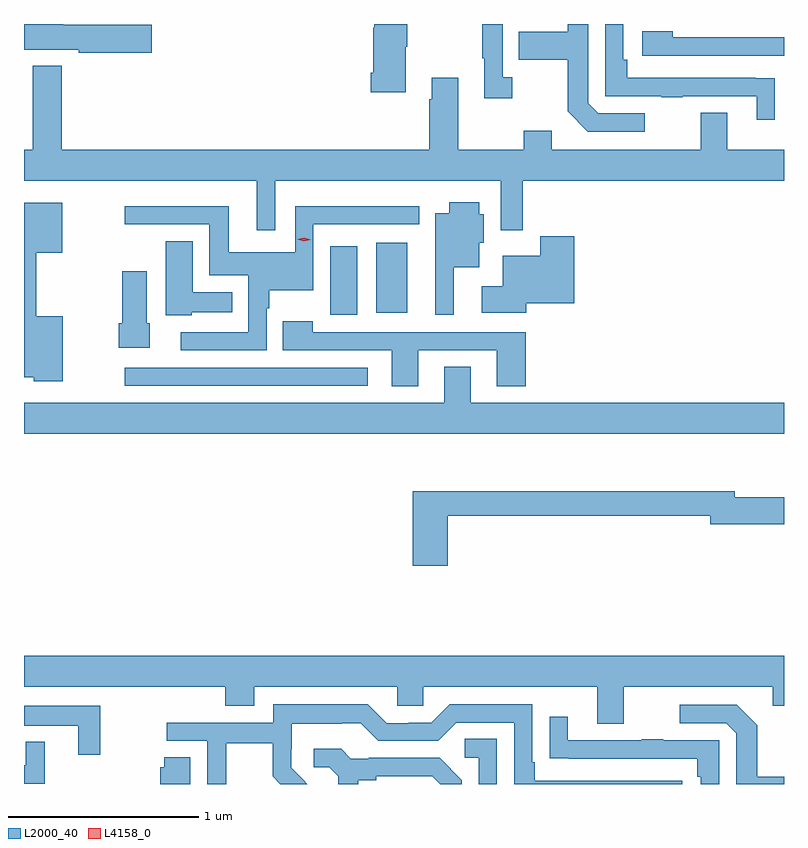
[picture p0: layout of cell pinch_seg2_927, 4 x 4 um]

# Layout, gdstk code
import gdstk
lib = gdstk.Library(unit=1e-6, precision=1e-09)
def R(c, l, rs):  # rectangles x0, y0, x1, y1
    for r in rs: c.add(gdstk.rectangle(r[:2], r[2:], *l))
def P(c, l, *ps):  # polygons
    for p in ps: c.add(gdstk.Polygon(p, *l))
L2000_40 = (2000, 40)
L4158_0 = (4158, 0)

pinch_seg2_927 = lib.new_cell('pinch_seg2_927')
R(pinch_seg2_927, L2000_40, [(350.517,641.229,351.796,641.325), (351.599,641.604,351.742,641.962), (351.842,641.612,352.003,641.983)])
P(pinch_seg2_927, L2000_40, [(351.997,643.013),(352.005,643.013),(352.005,643.133),(351.83,643.133),(351.83,643.113),(351.824,643.113),(351.824,642.877),(351.812,642.877),(351.812,642.773),(351.997,642.773)],
  [(353.254,642.663),(353.01,642.663),(352.956,642.717),(352.956,643.133),(352.848,643.133),(352.848,643.093),(352.591,643.093),(352.591,642.946),(352.848,642.946),(352.848,642.673),(352.953,642.567),(353.254,642.567)],
  [(352.558,642.854),(352.506,642.854),(352.506,643.133),(352.398,643.133),(352.398,642.953),(352.409,642.953),(352.409,642.741),(352.558,642.741)],
  [(350.659,643.13),(350.194,643.13),(350.194,643.133),(349.987,643.133),(349.987,642.998),(350.274,642.998),(350.274,642.983),(350.659,642.983)],
  [(353.939,642.848),(353.837,642.848),(353.837,642.849),(353.162,642.849),(353.162,642.946),(353.142,642.946),(353.142,643.133),(353.046,643.133),(353.046,642.753),(353.341,642.753),(353.341,642.748),(353.453,642.748),(353.453,642.753),(353.843,642.753),(353.843,642.63),(353.939,642.63)],
  [(353.987,643.062),(353.402,643.062),(353.402,643.096),(353.241,643.096),(353.241,642.966),(353.987,642.966)],
  [(351.212,642.048),(351.309,642.048),(351.309,642.308),(352.497,642.308),(352.497,642.048),(352.613,642.048),(352.613,642.308),(353.987,642.308),(353.987,642.472),(353.689,642.472),(353.689,642.667),(353.549,642.667),(353.549,642.472),(352.765,642.472),(352.765,642.571),(352.618,642.571),(352.618,642.472),(352.273,642.472),(352.273,642.85),(352.133,642.85),(352.133,642.737),(352.121,642.737),(352.121,642.472),(350.186,642.472),(350.186,642.913),(350.033,642.913),(350.033,642.472),(349.987,642.472),(349.987,642.308),(351.212,642.308)],
  [(352.249,641.852),(352.384,641.852),(352.384,641.982),(352.408,641.982),(352.408,642.132),(352.384,642.132),(352.384,642.196),(352.226,642.196),(352.226,642.136),(352.151,642.136),(352.151,641.604),(352.249,641.604)],
  [(350.191,641.596),(350.051,641.596),(350.051,641.93),(350.188,641.93),(350.188,642.193),(349.987,642.193),(349.987,641.273),(350.037,641.273),(350.037,641.252),(350.191,641.252)],
  [(351.264,641.636),(351.277,641.636),(351.277,641.732),(351.51,641.732),(351.51,642.078),(352.066,642.078),(352.066,642.175),(351.414,642.175),(351.414,641.932),(351.064,641.932),(351.064,642.175),(350.517,642.175),(350.517,642.078),(350.963,642.078),(350.963,641.81),(351.168,641.81),(351.168,641.511),(350.811,641.511),(350.811,641.415),(351.264,641.415)],
  [(352.63,641.663),(352.883,641.663),(352.883,642.016),(352.705,642.016),(352.705,641.914),(352.508,641.914),(352.508,641.752),(352.395,641.752),(352.395,641.612),(352.63,641.612)],
  [(350.871,641.615),(351.082,641.615),(351.082,641.722),(350.875,641.722),(350.875,641.989),(350.732,641.989),(350.732,641.6),(350.871,641.6)],
  [(350.65,641.559),(350.632,641.559),(350.632,641.833),(350.503,641.833),(350.503,641.559),(350.485,641.559),(350.485,641.429),(350.65,641.429)],
  [(352.063,641.415),(352.475,641.415),(352.475,641.226),(352.628,641.226),(352.628,641.511),(351.506,641.511),(351.506,641.569),(351.349,641.569),(351.349,641.415),(351.923,641.415),(351.923,641.226),(352.063,641.226)],
  [(353.987,641.14),(352.339,641.14),(352.339,641.33),(352.199,641.33),(352.199,641.14),(349.987,641.14),(349.987,640.976),(353.987,640.976)],
  [(352.217,640.546),(353.6,640.546),(353.6,640.499),(353.987,640.499),(353.987,640.641),(353.728,640.641),(353.728,640.675),(352.034,640.675),(352.034,640.281),(352.217,640.281)],
  [(353.143,639.644),(353.927,639.644),(353.927,639.545),(353.987,639.545),(353.987,639.808),(349.987,639.808),(349.987,639.644),(351.047,639.644),(351.047,639.545),(351.199,639.545),(351.199,639.644),(351.951,639.644),(351.951,639.546),(352.089,639.546),(352.089,639.644),(353.003,639.644),(353.003,639.45),(353.143,639.45)],
  [(351.051,639.348),(351.295,639.348),(351.295,639.173),(351.335,639.133),(351.477,639.133),(351.467,639.143),(351.468,639.144),(351.394,639.218),(351.394,639.315),(351.396,639.315),(351.396,639.449),(351.659,639.449),(351.659,639.453),(351.759,639.453),(351.852,639.36),(352.167,639.36),(352.263,639.456),(352.566,639.456),(352.566,639.133),(353.452,639.133),(353.452,639.15),(352.675,639.15),(352.675,639.247),(352.662,639.247),(352.662,639.552),(352.227,639.552),(352.131,639.456),(352.013,639.456),(352.013,639.453),(351.897,639.453),(351.797,639.553),(351.3,639.553),(351.3,639.456),(350.739,639.456),(350.739,639.36),(350.952,639.36),(350.952,639.133),(351.051,639.133)],
  [(353.987,639.171),(353.845,639.171),(353.845,639.443),(353.739,639.549),(353.439,639.549),(353.439,639.453),(353.682,639.453),(353.736,639.399),(353.736,639.133),(353.987,639.133)],
  [(350.387,639.544),(349.987,639.544),(349.987,639.44),(350.273,639.44),(350.273,639.288),(350.387,639.288)],
  [(353.646,639.363),(353.351,639.363),(353.351,639.368),(353.239,639.368),(353.239,639.363),(352.849,639.363),(352.849,639.487),(352.753,639.487),(352.753,639.268),(352.855,639.268),(352.855,639.267),(353.53,639.267),(353.53,639.17),(353.55,639.17),(353.55,639.133),(353.646,639.133)],
  [(352.476,639.371),(352.308,639.371),(352.308,639.27),(352.38,639.27),(352.38,639.133),(352.476,639.133)],
  [(350.095,639.355),(349.997,639.355),(349.997,639.231),(349.987,639.231),(349.987,639.135),(350.095,639.135)],
  [(351.745,639.152),(351.841,639.152),(351.841,639.174),(352.136,639.174),(352.177,639.133),(352.29,639.133),(352.29,639.154),(352.174,639.27),(351.802,639.27),(351.802,639.267),(351.708,639.267),(351.656,639.319),(351.513,639.319),(351.513,639.222),(351.594,639.222),(351.641,639.175),(351.641,639.133),(351.745,639.133)],
  [(350.863,639.275),(350.725,639.275),(350.725,639.222),(350.705,639.222),(350.705,639.133),(350.863,639.133)])
P(pinch_seg2_927, L4158_0, [(351.46,641.989),(351.425,642),(351.425,642.001),(351.425,642.001),(351.461,642.009),(351.497,641.998),(351.497,641.998),(351.497,641.998)])

lib.write_gds('pinch_seg2_927.gds')
